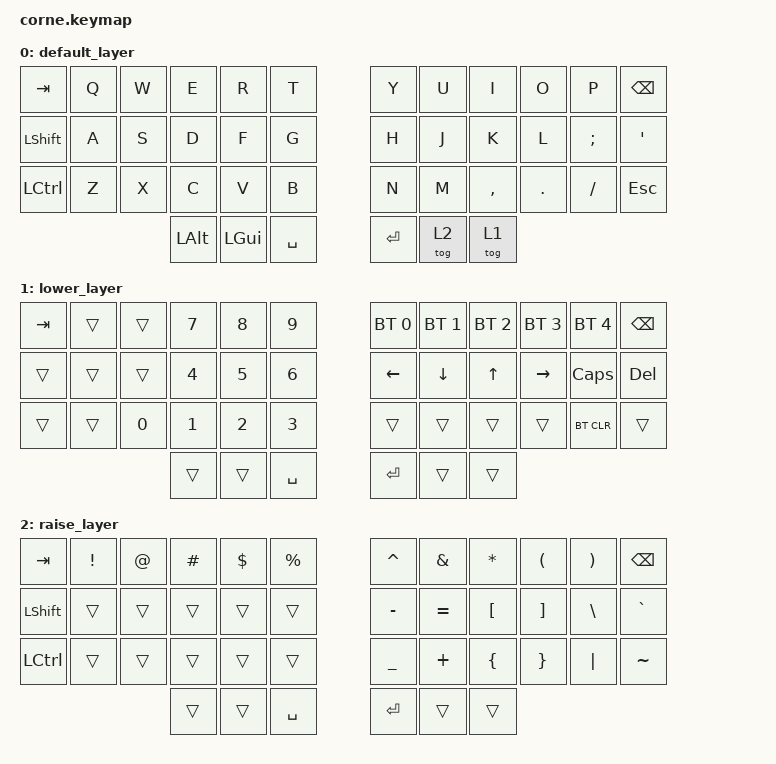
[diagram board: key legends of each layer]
/*
 * Copyright (c) 2020 The ZMK Contributors
 *
 * SPDX-License-Identifier: MIT
 */

#include <behaviors.dtsi>
#include <dt-bindings/zmk/bt.h>
#include <dt-bindings/zmk/keys.h>

/ {
    keymap {
        compatible = "zmk,keymap";

        default_layer {
            // -----------------------------------------------------------------------------------------
            // |  TAB |  Q  |  W  |  E  |  R  |  T  |   |  Y  |  U   |  I  |  O  |  P  | BKSP |
            // | CTRL |  A  |  S  |  D  |  F  |  G  |   |  H  |  J   |  K  |  L  |  ;  |  '   |
            // | SHFT |  Z  |  X  |  C  |  V  |  B  |   |  N  |  M   |  ,  |  .  |  /  | ESC  |
            //                    | GUI | LWR | SPC |   | ENT | RSE  | ALT |

            bindings = <
&kp TAB    &kp Q  &kp W  &kp E         &kp R         &kp T        &kp Y    &kp U   &kp I      &kp O    &kp P     &kp BSPC
&kp LSHFT  &kp A  &kp S  &kp D         &kp F         &kp G        &kp H    &kp J   &kp K      &kp L    &kp SEMI  &kp SQT
&kp LCTRL  &kp Z  &kp X  &kp C         &kp V         &kp B        &kp N    &kp M   &kp COMMA  &kp DOT  &kp FSLH  &kp ESC
                         &kp LEFT_ALT  &kp LEFT_GUI  &kp SPACE    &kp RET  &tog 2  &tog 1
            >;
        };

        lower_layer {
            // -----------------------------------------------------------------------------------------
            // |  TAB |  1  |  2  |  3  |  4  |  5  |   |  6  |  7  |  8  |  9  |  0  | BKSP |
            // | BTCLR| BT1 | BT2 | BT3 | BT4 | BT5 |   | LFT | DWN |  UP | RGT |     |      |
            // | SHFT |     |     |     |     |     |   |     |     |     |     |     |      |
            //                    | GUI |     | SPC |   | ENT |     | ALT |

            bindings = <
&kp TAB  &trans  &trans  &kp N7  &kp N8  &kp N9       &bt BT_SEL 0  &bt BT_SEL 1  &bt BT_SEL 2  &bt BT_SEL 3  &bt BT_SEL 4  &kp BSPC
&trans   &trans  &trans  &kp N4  &kp N5  &kp N6       &kp LEFT      &kp DOWN      &kp UP        &kp RIGHT     &kp CAPS      &kp DEL
&trans   &trans  &kp N0  &kp N1  &kp N2  &kp N3       &trans        &trans        &trans        &trans        &bt BT_CLR    &trans
                         &trans  &trans  &kp SPACE    &kp RET       &trans        &trans
            >;
        };

        raise_layer {
            // -----------------------------------------------------------------------------------------
            // |  TAB |  !  |  @  |  #  |  $  |  %  |   |  ^  |  &  |  *  |  (  |  )  | BKSP |
            // | CTRL |     |     |     |     |     |   |  -  |  =  |  [  |  ]  |  \  |  `   |
            // | SHFT |     |     |     |     |     |   |  _  |  +  |  {  |  }  | "|" |  ~   |
            //                    | GUI |     | SPC |   | ENT |     | ALT |

            bindings = <
&kp TAB     &kp EXCL  &kp AT  &kp HASH  &kp DLLR  &kp PRCNT    &kp CARET  &kp AMPS   &kp ASTRK  &kp LPAR  &kp RPAR  &kp BSPC
&kp LSHIFT  &trans    &trans  &trans    &trans    &trans       &kp MINUS  &kp EQUAL  &kp LBKT   &kp RBKT  &kp BSLH  &kp GRAVE
&kp LCTRL   &trans    &trans  &trans    &trans    &trans       &kp UNDER  &kp PLUS   &kp LBRC   &kp RBRC  &kp PIPE  &kp TILDE
                              &trans    &trans    &kp SPACE    &kp RET    &trans     &trans
            >;
        };
    };
};
